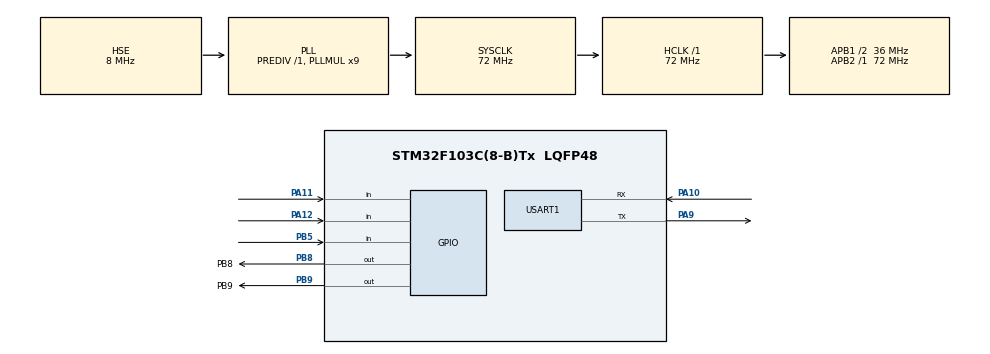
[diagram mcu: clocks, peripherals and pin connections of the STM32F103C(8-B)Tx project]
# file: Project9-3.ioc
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Mcu.Family=STM32F1
Mcu.Name=STM32F103C(8-B)Tx
Mcu.Package=LQFP48
NVIC.PriorityGroup=NVIC_PRIORITYGROUP_4
PA10.Mode=Asynchronous
PA10.Signal=USART1_RX
PA11.GPIO_PuPd=GPIO_PULLUP
PA11.Signal=GPIO_Input
PA12.GPIO_PuPd=GPIO_PULLUP
PA12.Signal=GPIO_Input
PA13.Mode=Serial_Wire
PA13.Signal=SYS_JTMS-SWDIO
PA14.Mode=Serial_Wire
PA14.Signal=SYS_JTCK-SWCLK
PA9.Mode=Asynchronous
PA9.Signal=USART1_TX
PB5.GPIO_PuPd=GPIO_PULLUP
PB5.Signal=GPIO_Input
PB8.GPIO_Label=PB8
PB8.Signal=GPIO_Output
PB9.GPIO_Label=PB9
PB9.Signal=GPIO_Output
PC14-OSC32_IN.Mode=LSE-External-Oscillator
PC14-OSC32_IN.Signal=RCC_OSC32_IN
PC15-OSC32_OUT.Mode=LSE-External-Oscillator
PC15-OSC32_OUT.Signal=RCC_OSC32_OUT
PD0-OSC_IN.Mode=HSE-External-Oscillator
PD0-OSC_IN.Signal=RCC_OSC_IN
PD1-OSC_OUT.Mode=HSE-External-Oscillator
PD1-OSC_OUT.Signal=RCC_OSC_OUT
ProjectManager.HeapSize=0x200
ProjectManager.StackSize=0x400
ProjectManager.TargetToolchain=MDK-ARM V5.32
RCC.AHBFreq_Value=72000000
RCC.APB1CLKDivider=RCC_HCLK_DIV2
RCC.APB1Freq_Value=36000000
RCC.APB1TimFreq_Value=72000000
RCC.APB2Freq_Value=72000000
RCC.APB2TimFreq_Value=72000000
RCC.HCLKFreq_Value=72000000
RCC.PLLMUL=RCC_PLL_MUL9
RCC.PLLSourceVirtual=RCC_PLLSOURCE_HSE
RCC.SYSCLKFreq_VALUE=72000000
RCC.SYSCLKSource=RCC_SYSCLKSOURCE_PLLCLK
RCC.USBFreq_Value=72000000
USART1.VirtualMode=VM_ASYNC
board=custom

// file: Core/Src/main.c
/* USER CODE BEGIN Header */
/**
  ******************************************************************************
  * @file           : main.c
  * @brief          : Main program body
  ******************************************************************************
  * @attention
  *
  * Copyright (c) 2025 STMicroelectronics.
  * All rights reserved.
  *
  * This software is licensed under terms that can be found in the LICENSE file
  * in the root directory of this software component.
  * If no LICENSE file comes with this software, it is provided AS-IS.
  *
  ******************************************************************************
  */
/* USER CODE END Header */
// 先在cubemx中配置OLED和串口还有按键的引脚和参数
// 然后添加OLED相关文件
#include "main.h"
#include "usart.h"
#include "gpio.h"

/* USER CODE BEGIN Includes */
#include "OLED.h"
#include "uart_hex.h"
#include <string.h>
#include <stdio.h>
/* USER CODE END Includes */

/* USER CODE BEGIN PD */
#define KEY_PRESSED 0  // 假设按键按下为低电平
/* USER CODE END PD */

/* USER CODE BEGIN PV */
UartReceiveManager_t uartManager;
HexPacket_t rxPacket, txPacket;
uint8_t dataBuffer[4] = {0x01, 0x02, 0x03, 0x04};  // 四个数据
uint8_t keyState = 0;          // 按键状态
uint8_t lastKeyState = 0;      // 上一次按键状态
uint32_t keyDebounceTime = 0;  // 按键防抖时间
/* USER CODE END PV */

void SystemClock_Config(void);
/* USER CODE BEGIN PFP */
void Error_Handler(void);
void UpdateOLEDDisplay(void);
void CheckKeyPress(void);
/* USER CODE END PFP */

/* USER CODE BEGIN 0 */

/**
  * @brief UART接收完成回调函数
  */
void HAL_UART_RxCpltCallback(UART_HandleTypeDef *huart) {
    if (huart->Instance == USART1) {
        uint8_t rxByte = huart->pRxBuffPtr[0];
        uint8_t packetReceived = 0;

        // 处理接收到的字节
        packetReceived = UART_ProcessReceivedByte(&uartManager, rxByte, &rxPacket);

        if (packetReceived) {
            // 接收到完整数据包，更新OLED显示
            UpdateOLEDDisplay();
        }

        // 重新启动接收中断
        uint8_t newRxByte;
        HAL_UART_Receive_IT(&huart1, &newRxByte, 1);
    }
}

/**
  * @brief 更新OLED显示内容
  */
void UpdateOLEDDisplay(void) {
    char str[32];

    // 显示发送数据
    sprintf(str, "%02X %02X %02X %02X",
            dataBuffer[0], dataBuffer[1],
            dataBuffer[2], dataBuffer[3]);
    OLED_ShowString(2, 1, str);

    // 显示接收数据
    if (rxPacket.length > 0)
	{
        // 最多显示4个字节
        uint8_t showLen = rxPacket.length > 4 ? 4 : rxPacket.length;
        memset(str, 0, sizeof(str));

        for (uint8_t i = 0; i < showLen; i++)
		{
            sprintf(str + i * 3, "%02X ", rxPacket.data[i]);
        }
        OLED_ShowString(4, 1, str);
    }
	else
	{

        OLED_ShowString(4, 1, "No data");
    }
}

/**
  * @brief 检查按键状态并处理
  */
void CheckKeyPress(void) {
    uint8_t currentState = HAL_GPIO_ReadPin(GPIOA, GPIO_PIN_12);

    // 按键防抖处理
    if (currentState != lastKeyState) {
        keyDebounceTime = HAL_GetTick();
    }

    // 稳定状态且与上次状态不同
    if (HAL_GetTick() - keyDebounceTime > 50) {  // 50ms防抖
        if (currentState == KEY_PRESSED && currentState != keyState) {
            // 按键按下，四个数据自增
            for (uint8_t i = 0; i < 4; i++) {
                dataBuffer[i]++;
            }

            // 更新发送数据包
            txPacket.length = 4;
            memcpy(txPacket.data, dataBuffer, 4);

            // 发送更新后的数据
            UART_SendHexPacket(&huart1, &txPacket);

            // 更新显示
            UpdateOLEDDisplay();
        }
        keyState = currentState;
    }

    lastKeyState = currentState;
}

/* USER CODE END 0 */

int main(void)
{

  /* MCU Configuration--------------------------------------------------------*/

  /* Reset of all peripherals, Initializes the Flash interface and the Systick. */
  HAL_Init();

  /* Configure the system clock */
  SystemClock_Config();

  /* Initialize all configured peripherals */
  MX_GPIO_Init();
  MX_USART1_UART_Init();
  /* USER CODE BEGIN 2 */
  // 模块初始化
  OLED_Init();        // OLED初始化
  OLED_Clear();       // OLED清屏

  // OLED显示静态字符
  OLED_ShowString(1, 1, "TxPacket:");
  OLED_ShowString(3, 1, "RxPacket:");

  // 初始化USART1接收管理器
  UART_InitReceiveManager(&uartManager);

  // 初始化发送数据包
  txPacket.length = 4;
  memcpy(txPacket.data, dataBuffer, 4);

  // 启动USART1接收中断（一次接收1个字节）
  uint8_t rxByte;
  if (HAL_UART_Receive_IT(&huart1, &rxByte, 1) != HAL_OK)
  {
      Error_Handler();
  }

  // 初始显示
  UpdateOLEDDisplay();

  // 发送初始数据
  UART_SendHexPacket(&huart1, &txPacket);
  /* USER CODE END 2 */

  /* Infinite loop */
  /* USER CODE BEGIN WHILE */
  while (1)
  {
    /* 检查按键状态 */
    CheckKeyPress();

    /* 短暂延时，降低CPU占用 */
    HAL_Delay(10);

    /* USER CODE END WHILE */

  }
}

void SystemClock_Config(void)
{
  RCC_OscInitTypeDef RCC_OscInitStruct = {0};
  RCC_ClkInitTypeDef RCC_ClkInitStruct = {0};

  /** Initializes the RCC Oscillators according to the specified parameters
  * in the RCC_OscInitTypeDef structure.
  */
  RCC_OscInitStruct.OscillatorType = RCC_OSCILLATORTYPE_HSE;
  RCC_OscInitStruct.HSEState = RCC_HSE_ON;
  RCC_OscInitStruct.HSEPredivValue = RCC_HSE_PREDIV_DIV1;
  RCC_OscInitStruct.HSIState = RCC_HSI_ON;
  RCC_OscInitStruct.PLL.PLLState = RCC_PLL_ON;
  RCC_OscInitStruct.PLL.PLLSource = RCC_PLLSOURCE_HSE;
  RCC_OscInitStruct.PLL.PLLMUL = RCC_PLL_MUL9;
  if (HAL_RCC_OscConfig(&RCC_OscInitStruct) != HAL_OK)
  {
    Error_Handler();
  }

  /** Initializes the CPU, AHB and APB buses clocks
  */
  RCC_ClkInitStruct.ClockType = RCC_CLOCKTYPE_HCLK|RCC_CLOCKTYPE_SYSCLK
                              |RCC_CLOCKTYPE_PCLK1|RCC_CLOCKTYPE_PCLK2;
  RCC_ClkInitStruct.SYSCLKSource = RCC_SYSCLKSOURCE_PLLCLK;
  RCC_ClkInitStruct.AHBCLKDivider = RCC_SYSCLK_DIV1;
  RCC_ClkInitStruct.APB1CLKDivider = RCC_HCLK_DIV2;
  RCC_ClkInitStruct.APB2CLKDivider = RCC_HCLK_DIV1;

  if (HAL_RCC_ClockConfig(&RCC_ClkInitStruct, FLASH_LATENCY_2) != HAL_OK)
  {
    Error_Handler();
  }
}

void Error_Handler(void)
{
  /* USER CODE BEGIN Error_Handler_Debug */
  /* User can add his own implementation to report the HAL error return state */
  // 错误状态下，OLED显示错误信息
  OLED_Clear();
  OLED_ShowString(2, 1, "Error Occurred");

  __disable_irq();
  while (1)
  {
  }
  /* USER CODE END Error_Handler_Debug */
}
